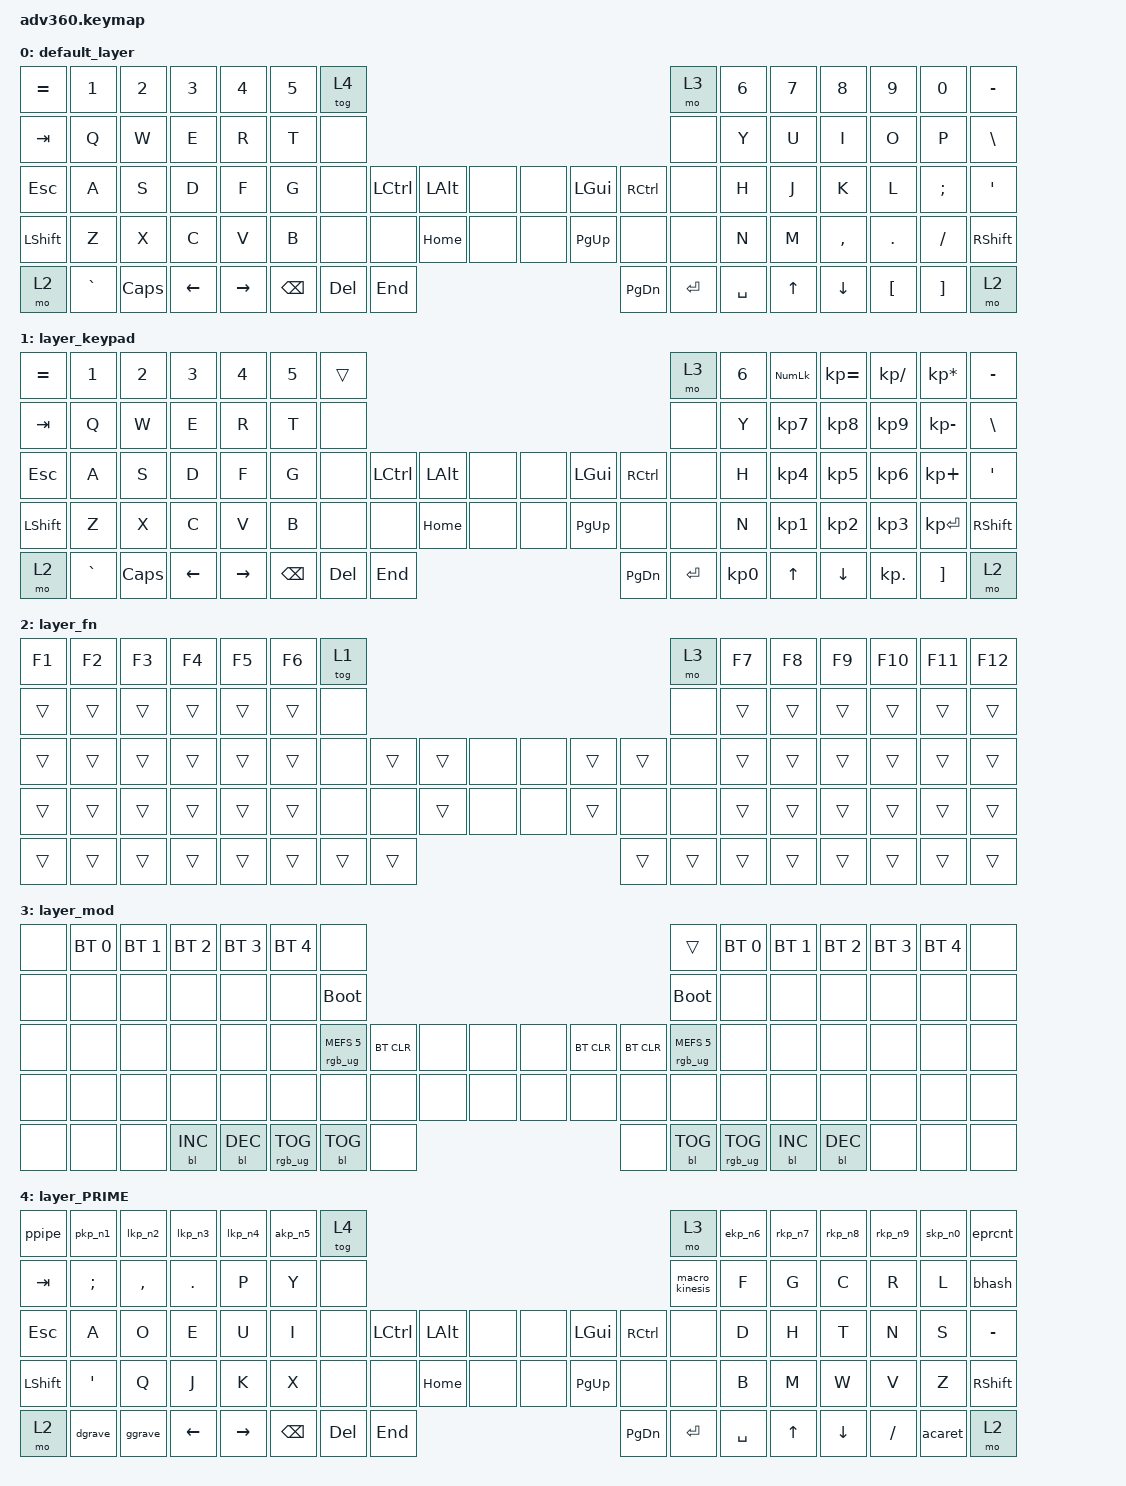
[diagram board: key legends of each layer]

/*
 * Copyright (c) 2020 The ZMK Contributors
 *
 * SPDX-License-Identifier: MIT
 */


/* THIS FILE WAS GENERATED!
 *
 * This file was generated automatically. You may or may not want to
 * edit it directly.
 */

#include <behaviors.dtsi>
#include <dt-bindings/zmk/keys.h>
#include <dt-bindings/zmk/bt.h>
#include <dt-bindings/zmk/rgb.h>
#include <dt-bindings/zmk/backlight.h>

/ {
  behaviors {
    #include "macros.dtsi"

    hm: homerow_mods {
        compatible = "zmk,behavior-hold-tap";
        label = "HOMEROW_MODS";
        #binding-cells = <2>;
        tapping-term-ms = <200>;
        quick_tap_ms = <175>;
        flavor = "tap-preferred";
        bindings = <&kp>, <&kp>;
    };
  gpipe: grave_pipe {
    compatible = "zmk,behavior-mod-morph";
    label = "grave_pipe";
    #binding-cells = <0>;
    bindings = <&kp GRAVE>, <&kp PIPE>;
    mods = <(MOD_LGUI|MOD_LSFT|MOD_RGUI|MOD_RSFT)>;
};
ppipe: pipe_pipe {
    compatible = "zmk,behavior-mod-morph";
    label = "pipe_pipe";
    #binding-cells = <0>;
    bindings = <&kp PIPE>, <&kp PIPE>;
    mods = <(MOD_LGUI|MOD_LSFT|MOD_RGUI|MOD_RSFT)>;
};
pkp_n1: plus_kp_n1 {
    compatible = "zmk,behavior-mod-morph";
    label = "plus_kp_n1";
    #binding-cells = <0>;
    bindings = <&kp PLUS>, <&kp KP_N1>;
    mods = <(MOD_LGUI|MOD_LSFT|MOD_RGUI|MOD_RSFT)>;
};
lkp_n2: left_bracket_kp_n2 {
    compatible = "zmk,behavior-mod-morph";
    label = "left_bracket_kp_n2";
    #binding-cells = <0>;
    bindings = <&kp LEFT_BRACKET>, <&kp KP_N2>;
    mods = <(MOD_LGUI|MOD_LSFT|MOD_RGUI|MOD_RSFT)>;
};
lkp_n3: left_brace_kp_n3 {
    compatible = "zmk,behavior-mod-morph";
    label = "left_brace_kp_n3";
    #binding-cells = <0>;
    bindings = <&kp LEFT_BRACE>, <&kp KP_N3>;
    mods = <(MOD_LGUI|MOD_LSFT|MOD_RGUI|MOD_RSFT)>;
};
lkp_n4: left_parenthesis_kp_n4 {
    compatible = "zmk,behavior-mod-morph";
    label = "left_parenthesis_kp_n4";
    #binding-cells = <0>;
    bindings = <&kp LEFT_PARENTHESIS>, <&kp KP_N4>;
    mods = <(MOD_LGUI|MOD_LSFT|MOD_RGUI|MOD_RSFT)>;
};
akp_n5: amps_kp_n5 {
    compatible = "zmk,behavior-mod-morph";
    label = "amps_kp_n5";
    #binding-cells = <0>;
    bindings = <&kp AMPS>, <&kp KP_N5>;
    mods = <(MOD_LGUI|MOD_LSFT|MOD_RGUI|MOD_RSFT)>;
};
ekp_n6: equal_kp_n6 {
    compatible = "zmk,behavior-mod-morph";
    label = "equal_kp_n6";
    #binding-cells = <0>;
    bindings = <&kp EQUAL>, <&kp KP_N6>;
    mods = <(MOD_LGUI|MOD_LSFT|MOD_RGUI|MOD_RSFT)>;
};
rkp_n7: right_parenthesis_kp_n7 {
    compatible = "zmk,behavior-mod-morph";
    label = "right_parenthesis_kp_n7";
    #binding-cells = <0>;
    bindings = <&kp RIGHT_PARENTHESIS>, <&kp KP_N7>;
    mods = <(MOD_LGUI|MOD_LSFT|MOD_RGUI|MOD_RSFT)>;
};
rkp_n8: right_brace_kp_n8 {
    compatible = "zmk,behavior-mod-morph";
    label = "right_brace_kp_n8";
    #binding-cells = <0>;
    bindings = <&kp RIGHT_BRACE>, <&kp KP_N8>;
    mods = <(MOD_LGUI|MOD_LSFT|MOD_RGUI|MOD_RSFT)>;
};
rkp_n9: right_bracket_kp_n9 {
    compatible = "zmk,behavior-mod-morph";
    label = "right_bracket_kp_n9";
    #binding-cells = <0>;
    bindings = <&kp RIGHT_BRACKET>, <&kp KP_N9>;
    mods = <(MOD_LGUI|MOD_LSFT|MOD_RGUI|MOD_RSFT)>;
};
skp_n0: star_kp_n0 {
    compatible = "zmk,behavior-mod-morph";
    label = "star_kp_n0";
    #binding-cells = <0>;
    bindings = <&kp STAR>, <&kp KP_N0>;
    mods = <(MOD_LGUI|MOD_LSFT|MOD_RGUI|MOD_RSFT)>;
};
eprcnt: excl_prcnt {
    compatible = "zmk,behavior-mod-morph";
    label = "excl_prcnt";
    #binding-cells = <0>;
    bindings = <&kp EXCL>, <&kp PRCNT>;
    mods = <(MOD_LGUI|MOD_LSFT|MOD_RGUI|MOD_RSFT)>;
};

dgrave: dllr_grave {
    compatible = "zmk,behavior-mod-morph";
    label = "dllr_grave";
    #binding-cells = <0>;
    bindings = <&kp DLLR>, <&kp GRAVE>;
    mods = <(MOD_LGUI|MOD_LSFT|MOD_RGUI|MOD_RSFT)>;
};
ggrave: grave_grave {
    compatible = "zmk,behavior-mod-morph";
    label = "grave_grave";
    #binding-cells = <0>;
    bindings = <&kp GRAVE>, <&kp GRAVE>;
    mods = <(MOD_LGUI|MOD_LSFT|MOD_RGUI|MOD_RSFT)>;
};
bhash: bslh_hash {
    compatible = "zmk,behavior-mod-morph";
    label = "bslh_hash";
    #binding-cells = <0>;
    bindings = <&kp BSLH>, <&kp HASH>;
    mods = <(MOD_LGUI|MOD_LSFT|MOD_RGUI|MOD_RSFT)>;
};
acaret: at_caret {
    compatible = "zmk,behavior-mod-morph";
    label = "at_caret";
    #binding-cells = <0>;
    bindings = <&kp AT>, <&kp CARET>;
    mods = <(MOD_LGUI|MOD_LSFT|MOD_RGUI|MOD_RSFT)>;
};
    };

    keymap {
        compatible = "zmk,keymap";


        default_layer {
            bindings = <
 &kp EQUAL     &kp N1    &kp N2    &kp N3     &kp N4  &kp N5              &tog 4                                                                 &mo 3  &kp N6  &kp N7     &kp N8    &kp N9    &kp N0  &kp MINUS
   &kp TAB      &kp Q     &kp W     &kp E      &kp R   &kp T               &none                                                                 &none   &kp Y   &kp U      &kp I     &kp O     &kp P   &kp BSLH
   &kp ESC      &kp A     &kp S     &kp D      &kp F   &kp G               &none  &kp LCTRL  &kp LALT   &none   &none   &kp LGUI  &kp RCTRL      &none   &kp H   &kp J      &kp K     &kp L  &kp SEMI    &kp SQT
 &kp LSHFT      &kp Z     &kp X     &kp C      &kp V   &kp B               &none      &none  &kp HOME   &none   &none  &kp PG_UP      &none      &none   &kp N   &kp M  &kp COMMA   &kp DOT  &kp FSLH  &kp RSHFT
     &mo 2  &kp GRAVE  &kp CAPS  &kp LEFT  &kp RIGHT                    &kp BSPC    &kp DEL   &kp END                  &kp PG_DN  &kp ENTER  &kp SPACE          &kp UP   &kp DOWN  &kp LBKT  &kp RBKT      &mo 2
            >;
        };

        layer_keypad {
            bindings = <
 &kp EQUAL     &kp N1    &kp N2    &kp N3     &kp N4  &kp N5              &trans                                                                 &mo 3  &kp N6  &kp KP_NUM  &kp KP_EQUAL  &kp KP_DIVIDE  &kp KP_MULTIPLY  &kp MINUS
   &kp TAB      &kp Q     &kp W     &kp E      &kp R   &kp T               &none                                                                 &none   &kp Y   &kp KP_N7     &kp KP_N8      &kp KP_N9     &kp KP_MINUS   &kp BSLH
   &kp ESC      &kp A     &kp S     &kp D      &kp F   &kp G               &none  &kp LCTRL  &kp LALT   &none   &none   &kp LGUI  &kp RCTRL      &none   &kp H   &kp KP_N4     &kp KP_N5      &kp KP_N6      &kp KP_PLUS    &kp SQT
 &kp LSHFT      &kp Z     &kp X     &kp C      &kp V   &kp B               &none      &none  &kp HOME   &none   &none  &kp PG_UP      &none      &none   &kp N   &kp KP_N1     &kp KP_N2      &kp KP_N3     &kp KP_ENTER  &kp RSHFT
     &mo 2  &kp GRAVE  &kp CAPS  &kp LEFT  &kp RIGHT                    &kp BSPC    &kp DEL   &kp END                  &kp PG_DN  &kp ENTER  &kp KP_N0              &kp UP      &kp DOWN     &kp KP_DOT         &kp RBKT      &mo 2
            >;
        };

        layer_fn {
            bindings = <
 &kp F1  &kp F2  &kp F3  &kp F4  &kp F5  &kp F6            &tog 1                                                   &mo 3  &kp F7  &kp F8  &kp F9  &kp F10  &kp F11  &kp F12
 &trans  &trans  &trans  &trans  &trans  &trans             &none                                                   &none  &trans  &trans  &trans   &trans   &trans   &trans
 &trans  &trans  &trans  &trans  &trans  &trans             &none  &trans  &trans   &none   &none  &trans  &trans   &none  &trans  &trans  &trans   &trans   &trans   &trans
 &trans  &trans  &trans  &trans  &trans  &trans             &none   &none  &trans   &none   &none  &trans   &none   &none  &trans  &trans  &trans   &trans   &trans   &trans
 &trans  &trans  &trans  &trans  &trans                    &trans  &trans  &trans                  &trans  &trans  &trans          &trans  &trans   &trans   &trans   &trans
            >;
        };

        layer_mod {
            bindings = <
  &none  &bt BT_SEL 0  &bt BT_SEL 1  &bt BT_SEL 2  &bt BT_SEL 3  &bt BT_SEL 4                             &none                                                                              &trans  &bt BT_SEL 0  &bt BT_SEL 1  &bt BT_SEL 2  &bt BT_SEL 3  &bt BT_SEL 4   &none
  &none         &none         &none         &none         &none         &none                       &bootloader                                                                         &bootloader         &none         &none         &none         &none         &none   &none
  &none         &none         &none         &none         &none         &none            &rgb_ug RGB_MEFS_CMD 5  &bt BT_CLR   &none   &none   &none  &bt BT_CLR  &bt BT_CLR  &rgb_ug RGB_MEFS_CMD 5         &none         &none         &none         &none         &none   &none
  &none         &none         &none         &none         &none         &none                             &none       &none   &none   &none   &none       &none       &none                   &none         &none         &none         &none         &none         &none   &none
  &none         &none         &none    &bl BL_INC    &bl BL_DEC                                 &rgb_ug RGB_TOG  &bl BL_TOG   &none                       &none  &bl BL_TOG         &rgb_ug RGB_TOG                  &bl BL_INC    &bl BL_DEC         &none         &none   &none
            >;
        };
        
        layer_PRIME {
            bindings = <
       &ppipe   &pkp_n1    &lkp_n2   &lkp_n3    &lkp_n4  &akp_n5              &tog 4                                                                  &mo 3  &ekp_n6  &rkp_n7   &rkp_n8   &rkp_n9  &skp_n0    &eprcnt
      &kp TAB  &kp SEMI  &kp COMMA   &kp DOT      &kp P    &kp Y               &none                                                         &macro_kinesis    &kp F    &kp G     &kp C     &kp R    &kp L     &bhash
      &kp ESC     &kp A      &kp O     &kp E      &kp U    &kp I               &none  &kp LCTRL  &kp LALT  &none &none  &kp LGUI  &kp RCTRL           &none    &kp D    &kp H     &kp T     &kp N    &kp S  &kp MINUS
    &kp LSHFT  &kp APOS      &kp Q     &kp J      &kp K    &kp X               &none      &none  &kp HOME  &none &none &kp PG_UP      &none           &none    &kp B    &kp M     &kp W     &kp V    &kp Z  &kp RSHFT
        &mo 2   &dgrave    &ggrave  &kp LEFT  &kp RIGHT                     &kp BSPC    &kp DEL   &kp END              &kp PG_DN  &kp ENTER       &kp SPACE            &kp UP  &kp DOWN  &kp FSLH  &acaret      &mo 2
            >;
        };
    };
};        
